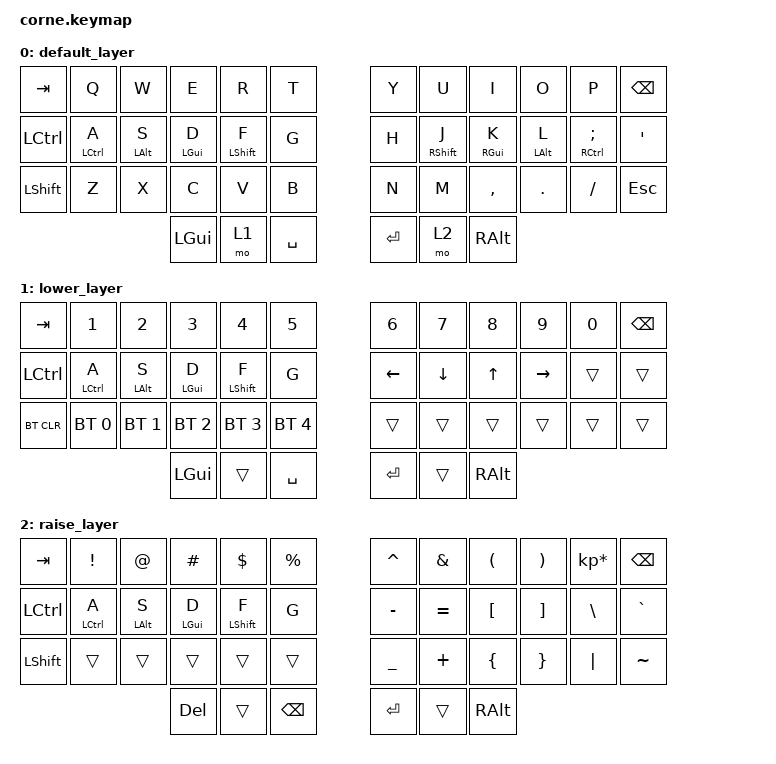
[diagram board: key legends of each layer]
/*
 * Copyright (c) 2020 The ZMK Contributors
 *
 * SPDX-License-Identifier: MIT
 */

#include <behaviors.dtsi>
#include <dt-bindings/zmk/keys.h>
#include <dt-bindings/zmk/bt.h>

&studio_unlock {};

&mt {
    tapping-term-ms = <150>;
};

/ {
        keymap {
                compatible = "zmk,keymap";

                default_layer {
// -----------------------------------------------------------------------------------------
// |  TAB |  Q  |  W  |  E  |  R  |  T  |   |  Y  |  U   |  I  |  O  |  P  | BKSP |
// | CTRL |  A  |  S  |  D  |  F  |  G  |   |  H  |  J   |  K  |  L  |  ;  |  '   |
// | SHFT |  Z  |  X  |  C  |  V  |  B  |   |  N  |  M   |  ,  |  .  |  /  | ESC  |
//                    | GUI | LWR | SPC |   | ENT | RSE  | ALT |
                        bindings = <
   &kp TAB         &kp Q          &kp W          &kp E          &kp R          &kp T          &kp Y          &kp U          &kp I          &kp O          &kp P            &kp BSPC
   &kp LCTRL       &mt LCTRL A    &mt LALT S     &mt LGUI D     &mt LSHFT F    &kp G          &kp H          &mt RSHFT J    &mt RGUI K     &mt LALT L     &mt RCTRL SEMI  &kp SQT
   &kp LSHFT       &kp Z          &kp X          &kp C          &kp V          &kp B          &kp N          &kp M          &kp COMMA      &kp DOT        &kp FSLH         &kp ESC
                   &kp LGUI       &mo 1          &kp SPACE      &kp RET        &mo 2          &kp RALT
                        >;
                };
                lower_layer {
// -----------------------------------------------------------------------------------------
// |  TAB  |  1  |  2  |  3  |  4  |  5  |   |  6  |  7  |  8  |  9  |  0  | BKSP |
// | LCTRL |     |     |     |     |     |   | LFT | DWN |  UP | RGT |     |      |
// | BT_CLR| BT1 | BT2 | BT3 | BT4 | BT5 |   |     |     |     |     |     |      |
//                     | GUI |     | SPC |   | ENT |     | ALT |
                        bindings = <
   &kp TAB     &kp N1       &kp N2       &kp N3       &kp N4       &kp N5         &kp N6   &kp N7   &kp N8 &kp N9    &kp N0 &kp BSPC
   &kp LCTRL   &mt LCTRL A  &mt LALT S   &mt LGUI D   &mt LSHFT F  &kp G          &kp LEFT &kp DOWN &kp UP &kp RIGHT &trans &trans
   &bt BT_CLR  &bt BT_SEL 0 &bt BT_SEL 1 &bt BT_SEL 2 &bt BT_SEL 3 &bt BT_SEL 4   &trans   &trans   &trans &trans    &trans &trans
                                    &kp LGUI     &trans       &kp SPACE      &kp RET  &trans   &kp RALT
                        >;
                };

                raise_layer {
// -----------------------------------------------------------------------------------------
// |  TAB |  !  |  @  |  #  |  $  |  %   |   |  ^  |  &  |  (  |  )  |  *  | BKSP |
// | CTRL |     |     |     |     |      |   |  -  |  =  |  [  |  ]  |  \  |  `   |
// | SHFT |     |     |     |     |      |   |  _  |  +  |  {  |  }  | "|" |  ~   |
//                    | DEL |     | BSPC |   | ENT |     | ALT |
                        bindings = <
   &kp TAB   &kp EXCL &kp AT &kp HASH &kp DLLR &kp PRCNT   &kp CARET &kp AMPS  &kp LPAR &kp RPAR &kp KP_MULTIPLY &kp BSPC
   &kp LCTRL &mt LCTRL A &mt LALT S &mt LGUI D &mt LSHFT F &kp G &kp MINUS &kp EQUAL &kp LBKT  &kp RBKT &kp BSLH &kp GRAVE
   &kp LSHFT &trans   &trans &trans   &trans   &trans      &kp UNDER &kp PLUS  &kp LBRC        &kp RBRC &kp PIPE &kp TILDE
                             &kp DEL  &trans   &kp BSPC    &kp RET   &trans    &kp RALT
                        >;
                };
        };
};
